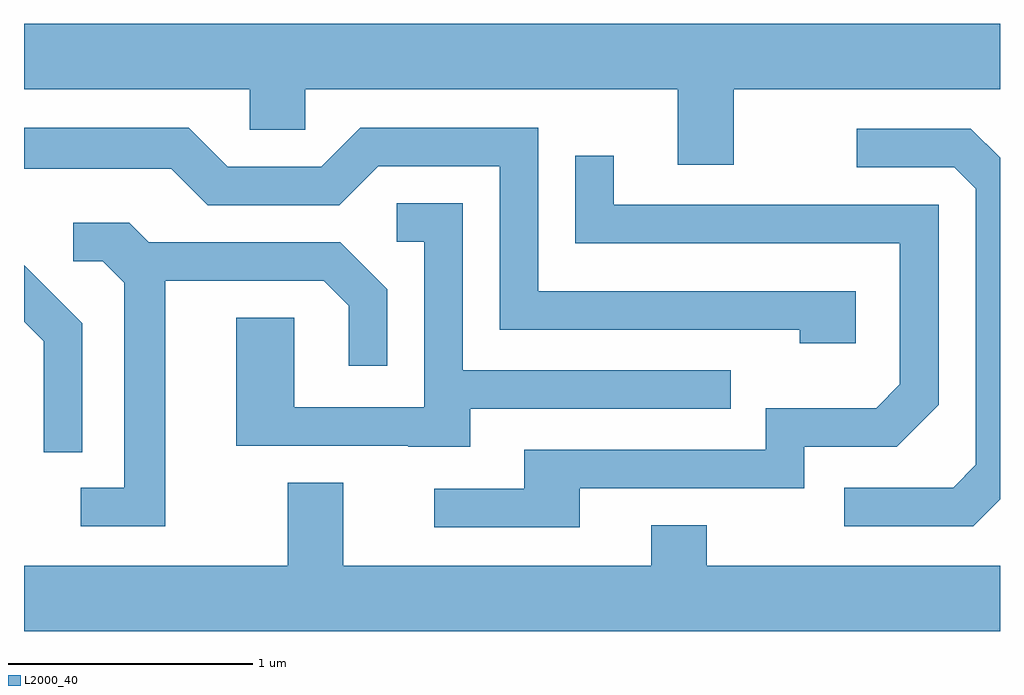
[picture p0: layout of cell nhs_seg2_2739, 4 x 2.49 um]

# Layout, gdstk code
import gdstk
lib = gdstk.Library(unit=1e-6, precision=1e-09)
def P(c, l, *ps):  # polygons
    for p in ps: c.add(gdstk.Polygon(p, *l))
L2000_40 = (2000, 40)

nhs_seg2_2739 = lib.new_cell('nhs_seg2_2739')
P(nhs_seg2_2739, L2000_40, [(268.519,1030.556),(269.611,1030.556),(269.611,1030.824),(265.611,1030.824),(265.611,1030.556),(266.536,1030.556),(266.536,1030.391),(266.764,1030.391),(266.764,1030.556),(268.291,1030.556),(268.291,1030.246),(268.519,1030.246)],
  [(269.019,1029.729),(267.719,1029.729),(267.719,1030.399),(266.989,1030.399),(266.829,1030.239),(266.447,1030.239),(266.287,1030.399),(265.611,1030.399),(265.611,1030.231),(266.214,1030.231),(266.364,1030.081),(266.902,1030.081),(267.062,1030.241),(267.561,1030.241),(267.561,1029.571),(268.791,1029.571),(268.791,1029.516),(269.019,1029.516)],
  [(269.611,1028.876),(269.611,1030.275),(269.492,1030.394),(269.023,1030.394),(269.023,1030.236),(269.424,1030.236),(269.511,1030.149),(269.511,1029.017),(269.419,1028.924),(268.973,1028.924),(268.973,1028.766),(269.502,1028.766)],
  [(267.889,1028.921),(268.809,1028.921),(268.809,1029.091),(269.187,1029.091),(269.359,1029.264),(269.359,1030.084),(268.029,1030.084),(268.029,1030.283),(267.871,1030.283),(267.871,1029.926),(269.201,1029.926),(269.201,1029.347),(269.104,1029.249),(268.651,1029.249),(268.651,1029.079),(267.661,1029.079),(267.661,1028.919),(267.293,1028.919),(267.293,1028.761),(267.889,1028.761)],
  [(267.439,1029.246),(268.508,1029.246),(268.508,1029.404),(267.409,1029.404),(267.409,1030.089),(267.138,1030.089),(267.138,1029.931),(267.251,1029.931),(267.251,1029.254),(266.719,1029.254),(266.719,1029.619),(266.481,1029.619),(266.481,1029.096),(267.185,1029.096),(267.185,1029.091),(267.439,1029.091)],
  [(266.189,1029.771),(266.839,1029.771),(266.941,1029.669),(266.941,1029.423),(267.099,1029.423),(267.099,1029.737),(266.907,1029.929),(266.122,1029.929),(266.042,1030.009),(265.813,1030.009),(265.813,1029.851),(265.934,1029.851),(266.021,1029.764),(266.021,1028.924),(265.843,1028.924),(265.843,1028.766),(266.189,1028.766)],
  [(265.849,1029.597),(265.611,1029.835),(265.611,1029.604),(265.691,1029.524),(265.691,1029.068),(265.849,1029.068)],
  [(269.611,1028.604),(268.409,1028.604),(268.409,1028.769),(268.181,1028.769),(268.181,1028.604),(266.919,1028.604),(266.919,1028.944),(266.691,1028.944),(266.691,1028.604),(265.611,1028.604),(265.611,1028.336),(269.611,1028.336)])

lib.write_gds('nhs_seg2_2739.gds')
